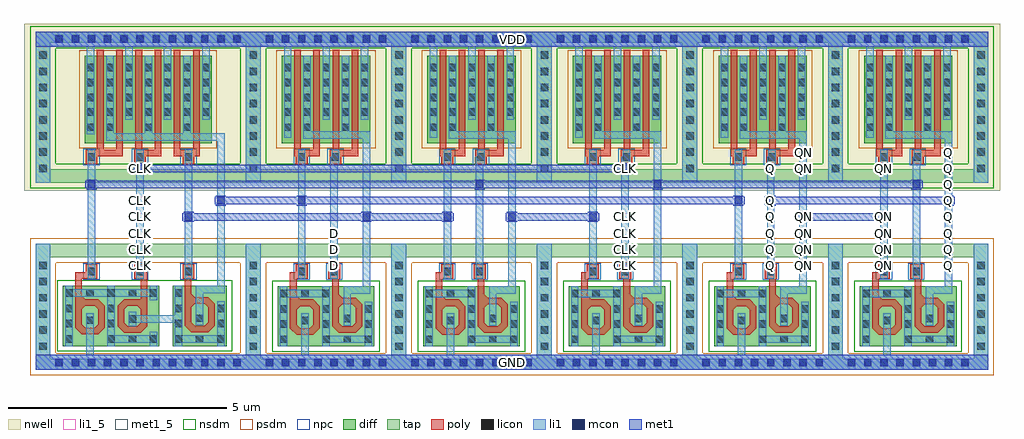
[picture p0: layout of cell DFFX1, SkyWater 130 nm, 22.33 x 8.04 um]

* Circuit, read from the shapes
.subckt DFFX1 CLK D GND Q QN VDD
XM1 n1 n2 GND GND sky130_fd_pr__nfet_01v8 w=2.6 l=0.1485
XM2 n1 CLK n3 GND sky130_fd_pr__nfet_01v8 w=2.52 l=0.1457
XM3 n3 n4 n5 GND sky130_fd_pr__nfet_01v8 w=2.56 l=0.146
XM4 n6 n5 GND GND sky130_fd_pr__nfet_01v8 w=2.6 l=0.146
XM5 n6 D n4 GND sky130_fd_pr__nfet_01v8 w=2.56 l=0.1471
XM6 n7 n4 GND GND sky130_fd_pr__nfet_01v8 w=2.6 l=0.146
XM7 n7 n2 n8 GND sky130_fd_pr__nfet_01v8 w=2.56 l=0.1472
XM8 n9 n8 GND GND sky130_fd_pr__nfet_01v8 w=2.6 l=0.146
XM9 n9 CLK n2 GND sky130_fd_pr__nfet_01v8 w=2.56 l=0.1471
XM10 n10 n5 GND GND sky130_fd_pr__nfet_01v8 w=2.6 l=0.1459
XM11 n10 Q QN GND sky130_fd_pr__nfet_01v8 w=2.56 l=0.1473
XM12 n11 QN GND GND sky130_fd_pr__nfet_01v8 w=2.6 l=0.146
XM13 n11 n2 Q GND sky130_fd_pr__nfet_01v8 w=2.56 l=0.1471
XM14 n5 n2 VDD VDD sky130_fd_pr__pfet_01v8 w=2 l=0.15 m=2
XM15 n5 CLK VDD VDD sky130_fd_pr__pfet_01v8 w=2 l=0.15 m=2
XM16 n5 n4 VDD VDD sky130_fd_pr__pfet_01v8 w=2 l=0.15 m=2
XM17 n4 n5 VDD VDD sky130_fd_pr__pfet_01v8 w=2 l=0.15 m=2
XM18 n4 D VDD VDD sky130_fd_pr__pfet_01v8 w=2 l=0.15 m=2
XM19 n8 n4 VDD VDD sky130_fd_pr__pfet_01v8 w=2 l=0.15 m=2
XM20 n8 n2 VDD VDD sky130_fd_pr__pfet_01v8 w=2 l=0.15 m=2
XM21 n2 n8 VDD VDD sky130_fd_pr__pfet_01v8 w=2 l=0.15 m=2
XM22 n2 CLK VDD VDD sky130_fd_pr__pfet_01v8 w=2 l=0.15 m=2
XM23 QN n5 VDD VDD sky130_fd_pr__pfet_01v8 w=2 l=0.15 m=2
XM24 QN Q VDD VDD sky130_fd_pr__pfet_01v8 w=2 l=0.15 m=2
XM25 Q QN VDD VDD sky130_fd_pr__pfet_01v8 w=2 l=0.15 m=2
XM26 Q n2 VDD VDD sky130_fd_pr__pfet_01v8 w=2 l=0.15 m=2
.ends

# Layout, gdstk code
from math import pi, radians
import gdstk
lib = gdstk.Library(unit=1e-6, precision=1e-09)
def R(c, l, rs):  # rectangles x0, y0, x1, y1
    for r in rs: c.add(gdstk.rectangle(r[:2], r[2:], *l))
def A(c, l, x, y, w, h, nx, ny, dx, dy):  # array of equal rectangles
    R(c, l, [(x+i*dx, y+j*dy, x+i*dx+w, y+j*dy+h) for i in range(nx) for j in range(ny)])
def P(c, l, *ps):  # polygons
    for p in ps: c.add(gdstk.Polygon(p, *l))
nwell = (64, 20)
diff = (65, 20)
tap = (65, 44)
poly = (66, 20)
licon = (66, 44)
li1_5 = (67, 5)
li1 = (67, 20)
mcon = (67, 44)
met1_5 = (68, 5)
met1 = (68, 20)
nsdm = (93, 44)
psdm = (94, 20)
npc = (95, 20)

li1_m1_contact = lib.new_cell('li1_M1_contact')
R(li1_m1_contact, li1, [(-0.085,-0.165,0.085,0.165)])
R(li1_m1_contact, mcon, [(-0.085,-0.085,0.085,0.085)])
R(li1_m1_contact, met1, [(-0.115,-0.115,0.115,-0.085), (-0.265,-0.085,0.145,0.085), (-0.115,0.085,0.115,0.115)])

poly_li1_contact = lib.new_cell('poly_li1_contact')
R(poly_li1_contact, poly, [(-0.16,-0.14,0.17,0.13)])
R(poly_li1_contact, licon, [(-0.08,-0.09,0.09,0.08)])
R(poly_li1_contact, li1, [(-0.16,-0.09,0.17,0.08)])
R(poly_li1_contact, npc, [(-0.18,-0.19,0.19,0.18)])

pmos2 = lib.new_cell('pmos2')
R(pmos2, nwell, [(0.26,-2.18,1.76,0.18)])
R(pmos2, diff, [(0.44,-2,1.58,0)])
R(pmos2, poly, [(0.72,-2.305,1.31,-2.155), (0.72,-2.155,0.87,0.13), (1.16,-2.155,1.31,0.13)])
A(pmos2, licon, 0.49, -1.38, 0.17, 0.17, 3, 4, 0.44, 0.34)
R(pmos2, li1, [(0.49,-1.465,0.66,0.21), (0.93,-1.465,1.1,0), (1.37,-1.465,1.54,0.21)])
R(pmos2, psdm, [(0.315,-2.125,1.705,0.125)])

nmos_bottom = lib.new_cell('nmos_bottom')
R(nmos_bottom, diff, [(0,0,1.24,1.38)])
R(nmos_bottom, poly, [(0.43,0.27,0.81,0.42), (0.28,0.42,0.43,0.925), (0.81,0.42,0.96,0.925), (0.43,0.925,0.96,1.075), (0.81,1.075,0.96,1.51)])
P(nmos_bottom, poly, [(0.73,1.075),(0.81,1.075),(0.81,1.155)],
  [(0.28,0.925),(0.43,0.925),(0.43,1.075)],
  [(0.43,0.845),(0.43,0.925),(0.51,0.925)],
  [(0.73,0.925),(0.81,0.925),(0.81,0.845)],
  [(0.43,0.5),(0.43,0.42),(0.51,0.42)],
  [(0.73,0.42),(0.81,0.42),(0.81,0.5)],
  [(0.28,0.42),(0.43,0.42),(0.43,0.27)],
  [(0.81,0.27),(0.81,0.42),(0.96,0.42)])
A(nmos_bottom, licon, 0.05, 1.13, 0.17, 0.17, 3, 1, 0.485, 0)
R(nmos_bottom, licon, [(0.05,0.08,0.22,0.25), (1.02,0.08,1.19,0.25), (0.05,0.43,0.22,0.6), (1.02,0.43,1.19,0.6), (0.535,0.505,0.705,0.675), (0.05,0.77,0.22,0.94), (1.02,0.77,1.19,0.94)])
R(nmos_bottom, li1, [(0.05,0,0.22,1.13), (1.02,0,1.19,1.13), (0.535,0.425,0.705,0.755), (0.05,1.13,1.19,1.3), (0.05,1.3,0.22,1.38), (1.02,1.3,1.19,1.38)])
R(nmos_bottom, nsdm, [(-0.125,-0.125,1.365,1.505)])

diff_ring_side = lib.new_cell('diff_ring_side')
R(diff_ring_side, nwell, [(-0.435,3.93,0.435,7.75)])
R(diff_ring_side, tap, [(-0.17,-0.17,0.17,2.72), (-0.17,4.11,0.17,7.57)])
A(diff_ring_side, licon, -0.085, 0.285, 0.17, 0.17, 1, 6, 0, 0.37)
A(diff_ring_side, licon, -0.085, 4.355, 0.17, 0.17, 1, 8, 0, 0.37)
R(diff_ring_side, li1, [(-0.17,-0.17,0.17,2.72), (-0.17,4.11,0.17,7.57)])
R(diff_ring_side, met1, [(-0.17,-0.17,0.17,0.17), (-0.17,7.23,0.17,7.57)])
R(diff_ring_side, nsdm, [(-0.295,3.985,0.295,7.695)])
R(diff_ring_side, psdm, [(-0.295,-0.295,0.295,2.845)])

nmos_side_left = lib.new_cell('nmos_side_left')
R(nmos_side_left, diff, [(0,0,1.24,1.38)])
R(nmos_side_left, poly, [(0.435,0.305,0.81,0.455), (0.285,0.455,0.435,0.925), (0.81,0.455,0.96,0.925), (0.435,0.925,0.96,1.075), (0.81,1.075,0.96,1.51)])
P(nmos_side_left, poly, [(0.285,0.925),(0.435,0.925),(0.435,1.075)],
  [(0.435,0.845),(0.435,0.925),(0.515,0.925)],
  [(0.73,0.925),(0.81,0.925),(0.81,0.845)],
  [(0.435,0.535),(0.435,0.455),(0.515,0.455)],
  [(0.73,0.455),(0.81,0.455),(0.81,0.535)],
  [(0.285,0.455),(0.435,0.455),(0.435,0.305)],
  [(0.81,0.305),(0.81,0.455),(0.96,0.455)])
A(nmos_side_left, licon, 0.05, 0.08, 0.17, 0.17, 3, 2, 0.485, 1.05)
R(nmos_side_left, licon, [(0.05,0.43,0.22,0.6), (0.54,0.535,0.71,0.705), (0.05,0.77,0.22,0.94)])
R(nmos_side_left, li1, [(0.05,0,0.22,0.08), (1.02,0,1.19,0.08), (0.05,0.08,1.19,0.25), (0.05,0.25,0.22,1.13), (1.02,0.25,1.19,0.33), (0.54,0.455,0.71,0.785), (1.02,1.05,1.19,1.13), (0.05,1.13,1.19,1.3), (0.05,1.3,0.22,1.38), (1.02,1.3,1.19,1.38)])
R(nmos_side_left, nsdm, [(-0.125,-0.125,1.365,1.505)])

nmos_top_trim1 = lib.new_cell('nmos_top_trim1')
R(nmos_top_trim1, diff, [(0,0,1.24,1.38)])
R(nmos_top_trim1, poly, [(0.43,0.31,0.81,0.46), (0.28,0.46,0.43,0.965), (0.81,0.46,0.96,0.965), (0.43,0.965,0.96,1.115), (0.81,1.115,0.96,1.545)])
P(nmos_top_trim1, poly, [(0.73,1.115),(0.81,1.115),(0.81,1.195)],
  [(0.28,0.965),(0.43,0.965),(0.43,1.115)],
  [(0.43,0.885),(0.43,0.965),(0.51,0.965)],
  [(0.73,0.965),(0.81,0.965),(0.81,0.885)],
  [(0.43,0.54),(0.43,0.46),(0.51,0.46)],
  [(0.73,0.46),(0.81,0.46),(0.81,0.54)],
  [(0.28,0.46),(0.43,0.46),(0.43,0.31)],
  [(0.81,0.31),(0.81,0.46),(0.96,0.46)])
A(nmos_top_trim1, licon, 0.05, 0.08, 0.17, 0.17, 3, 1, 0.485, 0)
R(nmos_top_trim1, licon, [(0.05,0.43,0.22,0.6), (1.02,0.43,1.19,0.6), (0.535,0.55,0.705,0.72), (0.05,0.77,0.22,0.94), (1.02,0.77,1.19,0.94), (1.02,1.13,1.19,1.3)])
R(nmos_top_trim1, li1, [(0.05,0,0.22,0.08), (1.02,0,1.19,0.08), (0.05,0.08,1.19,0.25), (0.05,0.25,0.22,1.02), (1.02,0.25,1.19,1.38), (0.535,0.47,0.705,0.805)])
R(nmos_top_trim1, nsdm, [(-0.125,-0.125,1.365,1.505)])

nand3x1_pcell = lib.new_cell('nand3x1_pcell')
R(nand3x1_pcell, nwell, [(0.435,3.93,4.375,5.28), (0.435,5.28,1.1,5.295), (1.395,5.28,4.375,5.495), (0.435,5.295,1.025,5.465), (1.145,5.295,1.315,5.465), (0.435,5.465,1.1,5.495), (0.435,5.495,4.375,7.75)])
A(nand3x1_pcell, diff, 1.445, 5.295, 0.17, 0.17, 3, 1, 0.88, 0)
R(nand3x1_pcell, diff, [(1.005,5.295,1.175,5.465)])
R(nand3x1_pcell, tap, [(0.17,-0.17,4.64,0.085), (0.17,2.41,4.64,2.72), (0.17,4.11,4.64,4.42), (0.17,7.315,4.64,7.57)])
R(nand3x1_pcell, poly, [(0.735,1.885,0.885,1.915), (2.235,1.885,2.385,1.915), (0.735,1.915,0.975,2.065), (2.355,1.915,2.385,2.065)])
A(nand3x1_pcell, licon, 0.285, -0.085, 0.17, 0.17, 12, 2, 0.37, 7.4)
A(nand3x1_pcell, licon, 1.445, 5.295, 0.17, 0.17, 3, 1, 0.88, 0)
R(nand3x1_pcell, licon, [(1.005,5.295,1.175,5.465)])
A(nand3x1_pcell, li1, 1.445, 5.24, 0.17, 0.315, 3, 1, 0.88, 0)
R(nand3x1_pcell, li1, [(0.17,-0.17,4.64,0.17), (0.99,0.17,1.16,0.835), (1.965,0.91,3.015,1.08), (3.5,1.175,3.67,1.58), (3.5,1.58,4.155,1.75), (3.985,1.75,4.155,5.07), (1.025,2.165,1.195,4.54), (2.135,2.165,2.305,4.54), (3.245,2.245,3.415,4.7), (1.445,5.07,4.155,5.24), (1.005,5.215,1.175,5.58), (0.17,7.23,4.64,7.57)])
A(nand3x1_pcell, mcon, 0.285, -0.085, 0.17, 0.17, 12, 2, 0.37, 7.4)
R(nand3x1_pcell, met1, [(0.17,-0.17,4.64,0.17), (0.17,7.23,4.64,7.57)])
R(nand3x1_pcell, nsdm, [(2.79,0.25,2.84,1.88), (0.045,3.985,4.765,4.545), (0.045,7.19,4.765,7.695)])
R(nand3x1_pcell, psdm, [(0.045,-0.295,4.765,0.21), (0.045,2.285,4.765,2.845), (0.88,5.17,1.74,5.59), (2.2,5.17,2.62,5.59), (3.08,5.17,3.5,5.59)])
nand3x1_pcell.add(gdstk.Reference(poly_li1_contact, (1.115,4.705), rotation=3*pi/2))
nand3x1_pcell.add(gdstk.Reference(pmos2, (0.515,7.02)))
nand3x1_pcell.add(gdstk.Reference(nmos_bottom, (1.695,0.375), rotation=pi, x_reflection=True))
nand3x1_pcell.add(gdstk.Reference(poly_li1_contact, (1.105,2.075), rotation=pi/2))
nand3x1_pcell.add(gdstk.Reference(diff_ring_side, (0,0)))
nand3x1_pcell.add(gdstk.Reference(poly_li1_contact, (2.215,4.695), rotation=pi/2))
nand3x1_pcell.add(gdstk.Reference(pmos2, (2.275,7.02)))
nand3x1_pcell.add(gdstk.Reference(pmos2, (1.395,7.02)))
nand3x1_pcell.add(gdstk.Reference(nmos_side_left, (1.425,0.375)))
nand3x1_pcell.add(gdstk.Reference(poly_li1_contact, (2.215,2.075), rotation=pi/2))
nand3x1_pcell.add(gdstk.Reference(poly_li1_contact, (3.335,4.705), rotation=3*pi/2))
nand3x1_pcell.add(gdstk.Reference(nmos_top_trim1, (4.205,0.375), rotation=pi, x_reflection=True))
nand3x1_pcell.add(gdstk.Reference(poly_li1_contact, (3.325,2.075), rotation=pi/2))
nand3x1_pcell.add(gdstk.Reference(diff_ring_side, (4.81,0)))

nand2x1_pcell = lib.new_cell('nand2x1_pcell')
R(nand2x1_pcell, nwell, [(0.435,3.93,2.895,7.75)])
R(nand2x1_pcell, diff, [(0.705,5.295,0.875,5.465), (1.145,5.295,1.315,5.465), (2.025,5.295,2.195,5.465)])
R(nand2x1_pcell, tap, [(0.17,-0.17,3.16,-0.15), (0.155,-0.15,3.175,0.085), (0.155,2.4,0.17,2.41), (3.16,2.4,3.175,2.41), (0.155,2.41,3.175,2.71), (0.17,2.71,3.16,2.72), (0.17,4.11,3.16,4.42), (0.17,7.315,3.16,7.57)])
R(nand2x1_pcell, poly, [(0.84,1.875,0.99,2.065), (1.81,1.91,1.96,1.915)])
A(nand2x1_pcell, licon, 0.285, -0.085, 0.17, 0.17, 8, 2, 0.37, 7.4)
R(nand2x1_pcell, licon, [(0.705,5.295,0.875,5.465), (1.145,5.295,1.315,5.465), (2.025,5.295,2.195,5.465)])
R(nand2x1_pcell, li1, [(0.17,-0.17,3.16,-0.15), (0.155,-0.15,3.175,0.16), (0.17,0.16,3.16,0.17), (1.095,0.17,1.265,0.835), (2.065,1.165,2.235,1.57), (2.065,1.57,2.675,1.74), (2.505,1.74,2.675,5.115), (1.025,2.165,1.195,4.54), (1.765,2.165,1.785,2.205), (1.765,2.205,1.935,4.54), (1.765,4.54,1.805,4.71), (1.145,5.115,2.675,5.285), (0.705,5.135,0.875,5.555), (1.145,5.285,1.315,5.555), (2.025,5.285,2.195,5.555), (0.17,7.23,3.16,7.57)])
A(nand2x1_pcell, mcon, 0.285, -0.085, 0.17, 0.17, 8, 2, 0.37, 7.4)
R(nand2x1_pcell, met1, [(0.17,-0.17,3.16,-0.15), (0.155,-0.15,3.175,0.16), (0.17,0.16,3.16,0.17), (0.17,7.23,3.16,7.57)])
R(nand2x1_pcell, nsdm, [(0.045,3.985,3.285,4.545), (0.045,7.19,3.285,7.695)])
R(nand2x1_pcell, psdm, [(0.045,-0.295,3.285,-0.275), (0.03,-0.275,3.3,0.21), (0.03,2.275,0.295,2.285), (3.035,2.275,3.3,2.285), (0.03,2.285,3.3,2.835), (0.045,2.835,3.285,2.845), (0.58,5.17,1.44,5.59), (1.9,5.17,2.32,5.59)])
nand2x1_pcell.add(gdstk.Reference(diff_ring_side, (0,0)))
nand2x1_pcell.add(gdstk.Reference(nmos_bottom, (1.8,0.365), rotation=pi, x_reflection=True))
nand2x1_pcell.add(gdstk.Reference(pmos2, (0.215,7.02)))
nand2x1_pcell.add(gdstk.Reference(poly_li1_contact, (1.115,4.705), rotation=3*pi/2))
nand2x1_pcell.add(gdstk.Reference(poly_li1_contact, (1.115,2.085), rotation=3*pi/2))
nand2x1_pcell.add(gdstk.Reference(nmos_top_trim1, (2.77,0.365), rotation=pi, x_reflection=True))
nand2x1_pcell.add(gdstk.Reference(pmos2, (1.095,7.02)))
nand2x1_pcell.add(gdstk.Reference(poly_li1_contact, (1.845,2.075), rotation=pi/2))
nand2x1_pcell.add(gdstk.Reference(poly_li1_contact, (1.885,4.705), rotation=3*pi/2))
nand2x1_pcell.add(gdstk.Reference(diff_ring_side, (3.33,0)))

dffx1_pcell = lib.new_cell('dffx1_pcell')
R(dffx1_pcell, met1, [(3.425,3.245,7.135,3.415), (7.545,3.245,8.985,3.415), (10.825,3.245,12.39,3.415), (4.165,3.615,5.66,3.785), (6.065,3.615,15.815,3.785), (1.29,3.985,13.965,4.155), (14.205,3.985,19.95,4.155), (2.135,4.355,13.255,4.525)])
dffx1_pcell.add(gdstk.Reference(li1_m1_contact, (4.07,3.7), rotation=pi))
dffx1_pcell.add(gdstk.Reference(li1_m1_contact, (3.33,3.33), rotation=pi))
dffx1_pcell.add(gdstk.Reference(li1_m1_contact, (2.22,4.44), rotation=pi))
dffx1_pcell.add(gdstk.Reference(li1_m1_contact, (1.11,4.07), rotation=pi))
dffx1_pcell.add(gdstk.Reference(nand3x1_pcell, (0,0)))
dffx1_pcell.add(gdstk.Reference(nand2x1_pcell, (4.81,0)))
dffx1_pcell.add(gdstk.Reference(li1_m1_contact, (10.73,3.33), rotation=pi))
dffx1_pcell.add(gdstk.Reference(li1_m1_contact, (9.99,4.07)))
dffx1_pcell.add(gdstk.Reference(li1_m1_contact, (9.25,3.33)))
dffx1_pcell.add(gdstk.Reference(li1_m1_contact, (7.4,3.33)))
dffx1_pcell.add(gdstk.Reference(li1_m1_contact, (5.92,3.7)))
dffx1_pcell.add(gdstk.Reference(nand2x1_pcell, (8.14,0)))
dffx1_pcell.add(gdstk.Reference(li1_m1_contact, (15.91,3.7)))
dffx1_pcell.add(gdstk.Reference(li1_m1_contact, (14.06,4.07)))
dffx1_pcell.add(gdstk.Reference(li1_m1_contact, (13.32,4.44)))
dffx1_pcell.add(gdstk.Reference(li1_m1_contact, (12.58,3.33)))
dffx1_pcell.add(gdstk.Reference(nand2x1_pcell, (11.47,0)))
dffx1_pcell.add(gdstk.Reference(nand2x1_pcell, (14.8,0)))
dffx1_pcell.add(gdstk.Reference(li1_m1_contact, (19.98,4.07)))
dffx1_pcell.add(gdstk.Reference(nand2x1_pcell, (18.13,0)))

dffx1 = lib.new_cell('DFFX1')
R(dffx1, nwell, [(0.285,7.315,0.455,7.485)])
A(dffx1, li1_5, 2.135, 2.135, 0.17, 0.17, 1, 5, 0, 0.37)
A(dffx1, li1_5, 6.575, 2.135, 0.17, 0.17, 1, 3, 0, 0.37)
A(dffx1, li1_5, 13.235, 2.135, 0.17, 0.17, 1, 4, 0, 0.37)
A(dffx1, li1_5, 16.565, 2.135, 0.17, 0.17, 1, 5, 0, 0.37)
A(dffx1, li1_5, 17.305, 2.135, 0.17, 0.17, 1, 4, 0, 0.37)
A(dffx1, li1_5, 19.155, 2.135, 0.17, 0.17, 1, 4, 0, 0.37)
A(dffx1, li1_5, 20.635, 2.135, 0.17, 0.17, 1, 8, 0, 0.37)
R(dffx1, li1_5, [(2.135,4.355,2.305,4.525), (13.235,4.355,13.405,4.525), (16.565,4.355,16.735,4.525), (17.305,4.355,17.475,4.525), (19.155,4.355,19.325,4.525), (17.305,4.725,17.475,4.895)])
A(dffx1, li1, 2.135, 2.135, 0.17, 0.17, 1, 5, 0, 0.37)
A(dffx1, li1, 6.575, 2.135, 0.17, 0.17, 1, 3, 0, 0.37)
A(dffx1, li1, 13.235, 2.135, 0.17, 0.17, 1, 4, 0, 0.37)
A(dffx1, li1, 16.565, 2.135, 0.17, 0.17, 1, 5, 0, 0.37)
A(dffx1, li1, 17.305, 2.135, 0.17, 0.17, 1, 4, 0, 0.37)
A(dffx1, li1, 19.155, 2.135, 0.17, 0.17, 1, 4, 0, 0.37)
A(dffx1, li1, 20.635, 2.135, 0.17, 0.17, 1, 8, 0, 0.37)
R(dffx1, li1, [(2.135,4.355,2.305,4.525), (13.235,4.355,13.405,4.525), (16.565,4.355,16.735,4.525), (17.305,4.355,17.475,4.525), (19.155,4.355,19.325,4.525), (17.305,4.725,17.475,4.895)])
R(dffx1, met1_5, [(-0.17,-0.17,21.63,0.17), (-0.17,7.225,21.63,7.57)])
R(dffx1, met1, [(-0.17,-0.17,21.63,0.17), (17.485,3.245,19.035,3.415), (16.745,3.615,20.575,3.785), (-0.17,7.225,21.63,7.57)])
dffx1.add(gdstk.Reference(li1_m1_contact, (19.24,3.33)))
dffx1.add(gdstk.Reference(li1_m1_contact, (17.39,3.33), rotation=pi))
dffx1.add(gdstk.Reference(li1_m1_contact, (16.65,3.7), rotation=pi))
dffx1.add(gdstk.Reference(li1_m1_contact, (20.72,3.7)))
dffx1.add(gdstk.Reference(dffx1_pcell, (0,0)))
dffx1.add(gdstk.Label('Q', (20.72,3.7), layer=67, texttype=5))
dffx1.add(gdstk.Label('Q', (20.72,4.07), layer=67, texttype=5))
dffx1.add(gdstk.Label('Q', (20.72,4.44), layer=67, texttype=5))
dffx1.add(gdstk.Label('Q', (20.72,4.81), layer=67, texttype=5))
dffx1.add(gdstk.Label('Q', (20.72,3.33), layer=67, texttype=5))
dffx1.add(gdstk.Label('Q', (20.72,2.96), layer=67, texttype=5))
dffx1.add(gdstk.Label('Q', (20.72,2.59), layer=67, texttype=5))
dffx1.add(gdstk.Label('Q', (20.72,2.22), layer=67, texttype=5))
dffx1.add(gdstk.Label('Q', (16.65,4.44), layer=67, texttype=5))
dffx1.add(gdstk.Label('Q', (16.65,3.7), layer=67, texttype=5))
dffx1.add(gdstk.Label('Q', (16.65,3.33), layer=67, texttype=5))
dffx1.add(gdstk.Label('Q', (16.65,2.96), layer=67, texttype=5))
dffx1.add(gdstk.Label('Q', (16.65,2.59), layer=67, texttype=5))
dffx1.add(gdstk.Label('Q', (16.65,2.22), layer=67, texttype=5))
dffx1.add(gdstk.Label('QN', (19.24,3.33), layer=67, texttype=5))
dffx1.add(gdstk.Label('QN', (19.24,4.44), layer=67, texttype=5))
dffx1.add(gdstk.Label('QN', (19.24,2.96), layer=67, texttype=5))
dffx1.add(gdstk.Label('QN', (19.24,2.59), layer=67, texttype=5))
dffx1.add(gdstk.Label('QN', (19.24,2.22), layer=67, texttype=5))
dffx1.add(gdstk.Label('QN', (17.39,2.22), layer=67, texttype=5))
dffx1.add(gdstk.Label('QN', (17.39,2.59), layer=67, texttype=5))
dffx1.add(gdstk.Label('QN', (17.39,2.96), layer=67, texttype=5))
dffx1.add(gdstk.Label('QN', (17.39,3.33), layer=67, texttype=5))
dffx1.add(gdstk.Label('QN', (17.39,4.44), layer=67, texttype=5))
dffx1.add(gdstk.Label('QN', (17.39,4.81), layer=67, texttype=5))
dffx1.add(gdstk.Label('D', (6.66,2.96), layer=67, texttype=5))
dffx1.add(gdstk.Label('D', (6.66,2.59), layer=67, texttype=5))
dffx1.add(gdstk.Label('D', (6.66,2.22), layer=67, texttype=5))
dffx1.add(gdstk.Label('CLK', (2.22,4.44), layer=67, texttype=5))
dffx1.add(gdstk.Label('CLK', (2.22,3.7), layer=67, texttype=5))
dffx1.add(gdstk.Label('CLK', (2.22,3.33), layer=67, texttype=5))
dffx1.add(gdstk.Label('CLK', (2.22,2.96), layer=67, texttype=5))
dffx1.add(gdstk.Label('CLK', (2.22,2.59), layer=67, texttype=5))
dffx1.add(gdstk.Label('CLK', (2.22,2.22), layer=67, texttype=5))
dffx1.add(gdstk.Label('CLK', (13.32,2.22), layer=67, texttype=5))
dffx1.add(gdstk.Label('CLK', (13.32,2.59), layer=67, texttype=5))
dffx1.add(gdstk.Label('CLK', (13.32,2.96), layer=67, texttype=5))
dffx1.add(gdstk.Label('CLK', (13.32,3.33), layer=67, texttype=5))
dffx1.add(gdstk.Label('CLK', (13.32,4.44), layer=67, texttype=5))
dffx1.add(gdstk.Label('VDD', (10.73,7.397), layer=68, texttype=5))
dffx1.add(gdstk.Label('GND', (10.73,0), layer=68, texttype=5))

lib.write_gds('DFFX1.gds')
